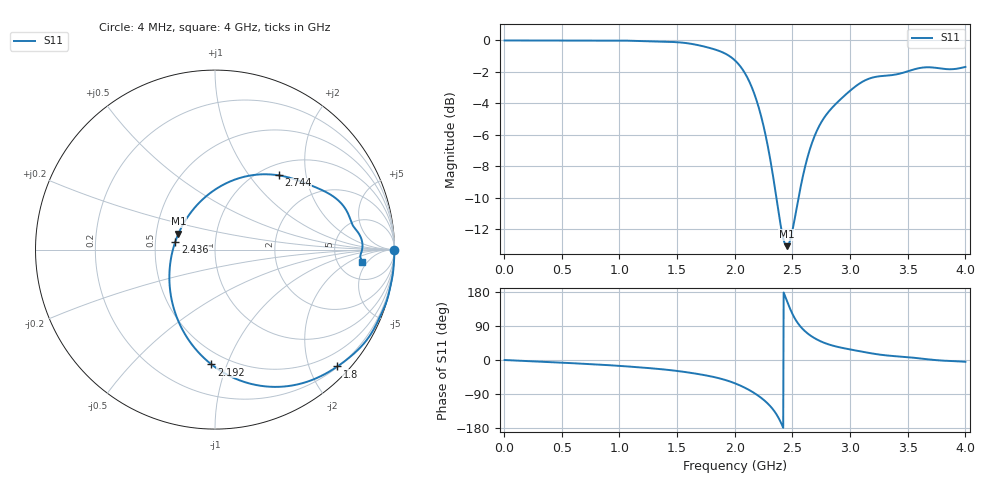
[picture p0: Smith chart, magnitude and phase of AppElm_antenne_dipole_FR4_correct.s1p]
! TOUCHSTONE file generated by CST MICROWAVE STUDIO
! Date and time: Thu May 12 13:22:37 2022
! Project name: AppElm_antenne_dipole_FR4.cst
! Parameters = {e=0.035; f=2.45e+09; h=1.6; i=0.8; l1=4; L=38.8; lambda=122.449; ws=80; wl=1.7; ls=30}
! Header version: 2018
! Port assignment regex: !\s*Touchstone port\s*([0-9]+)\s*=\s*(CST MWS port|CST DS port)\s*([0-9]+|Zmin|Zmax)\s*\(\"(.*)\"\)(\s*mode\s*([0-9]+))?.*
! Touchstone port assignment:
! Touchstone port 1 = CST MWS port 1 ("")
# GHz S MA R 50
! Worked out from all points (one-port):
!   1000 points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, 4 MHz to 4 GHz, reference 50 ohm
!   lowest |S11| = -13.1 dB at 2.452 GHz (marker M1), VSWR 1.57, Z = 32.6 + j6.13 ohm
!   |S11| at or under -10 dB: 2.361 GHz to 2.553 GHz (191.5 MHz wide, 7.8 % of centre)
!   S11 on the Smith chart (normalised r, x): 4 MHz: open; 1.8 GHz: 0.21, -2.48; 2.192 GHz: 0.41, -0.88; 2.436 GHz: 0.64, +0.06; 2.744 GHz: 1.20, +1.41; 4 GHz: 8.80, -3.70
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0.004  0.9999 -0.1
0.504  1 -7.1
1.004  0.9989 -15.6
1.504  0.987 -29.0
1.656  0.9707 -35.7
1.8  0.9428 -43.7
1.908  0.9119 -51.9
2.004  0.8626 -61.8
2.104  0.7687 -75.8
2.192  0.6401 -91.8
2.26  0.5144 -107.6
2.32  0.3944 -126.0
2.376  0.2912 -150.8
2.436  0.2257 168.9
2.452  0.2223 156.3
2.504  0.2533 119.2
2.56  0.3266 92.0
2.616  0.4058 74.1
2.676  0.4799 60.5
2.744  0.5449 49.4
2.848  0.6137 38.0
3.004  0.6944 27.7
3.196  0.7627 17.0
3.324  0.7737 11.8
3.504  0.7988 7.3
3.64  0.821 3.0
3.764  0.8168 -0.8
4  0.8241 -4.7
